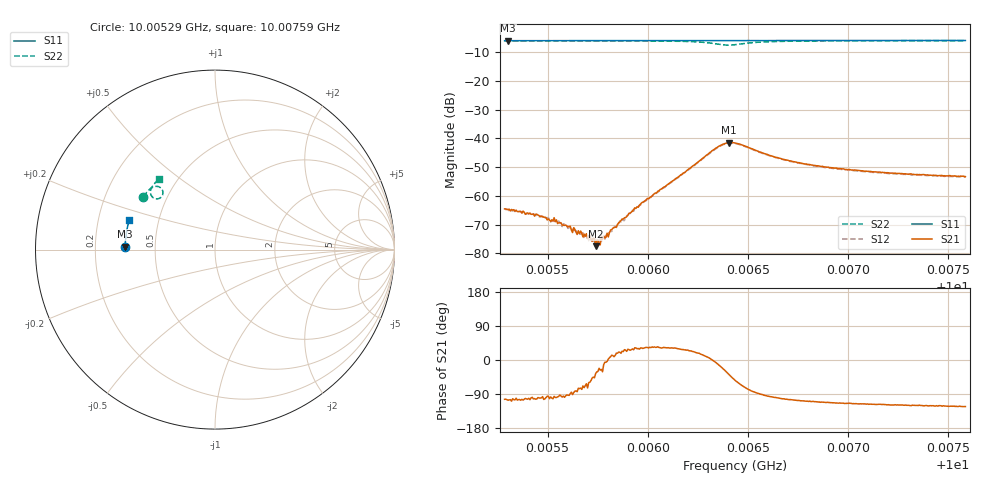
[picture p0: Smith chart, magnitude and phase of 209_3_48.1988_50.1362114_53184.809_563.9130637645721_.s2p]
#  HZ  S  RI  R  50.00
! Rohde & Schwarz Vector Network Analyzer
! Rohde-Schwarz,ZNB20-2Port,1311601062101988,3.16
! Created: UTC 3/20/2024, 11:45:22 AM
! freq[Hz]  re:S11  im:S11  re:S21  im:S21  re:S12  im:S12  re:S22  im:S22
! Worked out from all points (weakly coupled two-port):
!   401 points, 10.00529 GHz to 10.00759 GHz, reference 50 ohm
!   highest |S21| = -41.46 dB at 10.00641 GHz (marker M1); lowest = -77.5 dB at 10.00574 GHz (marker M2)
!   lowest |S11| = -6.0 dB at 10.0053 GHz (marker M3), VSWR 3.00, Z = 16.7 + j0.764 ohm
!   |S11| at or under -10 dB: nowhere
!   |S22| runs from -7.6 to -6.0 dB; largest |S21 - S12| = 0.00051
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1.0005286e10  -0.5002 0.016  -0.000141 -0.000577  -0.000154 -0.000582  -0.3986 0.2948
1.0005303e10  -0.5001 0.0172  -0.00016 -0.000556  -0.000128 -0.000564  -0.398 0.2958
1.0005493e10  -0.4999 0.0294  -6.66e-05 -0.000413  -2.68e-05 -0.000411  -0.3899 0.3071
1.0005533e10  -0.4999 0.0322  -4.39e-05 -0.000415  -3.97e-05 -0.000359  -0.3881 0.3096
1.0005556e10  -0.4998 0.0337  -3.5e-05 -0.000339  -4.25e-05 -0.000362  -0.3872 0.311
1.0005671e10  -0.4995 0.0411  4.76e-05 -0.000217  6.93e-05 -0.00021  -0.3816 0.318
1.0005723e10  -0.4992 0.0444  0.000109 -0.000119  0.000121 -0.000133  -0.3789 0.3213
1.0005729e10  -0.4992 0.045  0.000131 -0.000131  0.000112 -0.000124  -0.3784 0.3214
1.000574e10  -0.4991 0.0456  0.000108 -7.84e-05  0.000143 -0.000112  -0.3779 0.3222
1.0005752e10  -0.4992 0.0464  0.000148 -8.63e-05  0.000118 -7.13e-05  -0.3772 0.323
1.0005763e10  -0.499 0.0471  0.000126 -6.32e-05  0.000155 -9.88e-05  -0.3766 0.3237
1.0005792e10  -0.499 0.0488  0.000189 -1.99e-05  0.000202 -4.51e-05  -0.375 0.3257
1.0005861e10  -0.4986 0.0535  0.00033 0.000124  0.000342 0.000131  -0.3709 0.3301
1.0005936e10  -0.4982 0.0584  0.000524 0.000331  0.000509 0.000312  -0.3656 0.3351
1.0006057e10  -0.4974 0.0661  0.00103 0.00067  0.000985 0.000703  -0.3548 0.3434
1.0006333e10  -0.4947 0.0837  0.00644 -0.00039  0.00631 -6.48e-05  -0.2944 0.3342
1.0006408e10  -0.494 0.088  0.00657 -0.00532  0.00665 -0.00487  -0.3014 0.2912
1.0006436e10  -0.4938 0.0897  0.00498 -0.00666  0.00524 -0.00627  -0.3182 0.2832
1.0006644e10  -0.4922 0.1032  -0.000759 -0.00459  -0.000558 -0.00453  -0.3594 0.3255
1.0006822e10  -0.4902 0.1146  -0.00114 -0.00324  -0.001 -0.00319  -0.3515 0.3476
1.0007208e10  -0.4846 0.1388  -0.00119 -0.0022  -0.00105 -0.00219  -0.3315 0.3743
1.0007587e10  -0.478 0.1624  -0.00117 -0.00182  -0.00106 -0.00184  -0.312 0.3935
